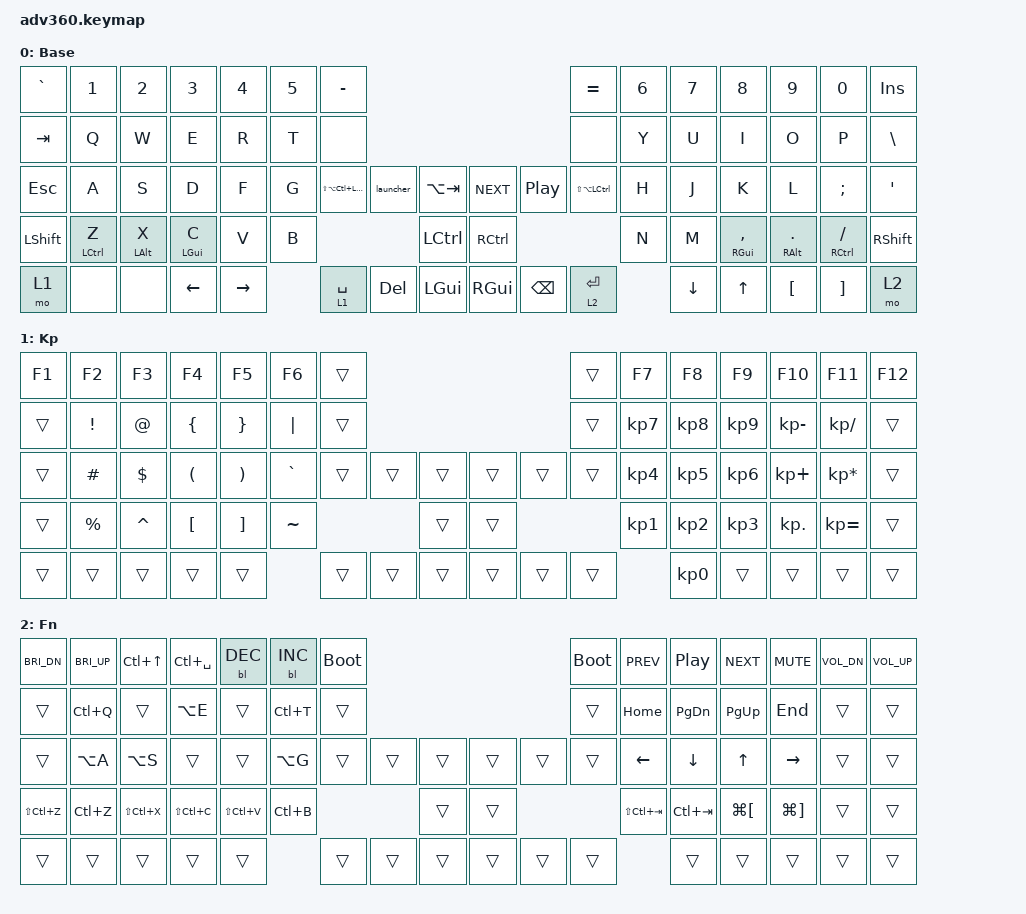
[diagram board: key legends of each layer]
#include <dt-bindings/zmk/stp.h>
#include <behaviors.dtsi>
#include <dt-bindings/zmk/backlight.h>
#include <dt-bindings/zmk/keys.h>

/ {
    behaviors {
        #include "macros.dtsi"
      #include "version.dtsi"

        hm: homerow_mods {
            compatible = "zmk,behavior-hold-tap";
            label = "HOMEROW_MODS";
            #binding-cells = <2>;
            tapping-term-ms = <200>;
            flavor = "tap-preferred";
            bindings = <&kp>, <&kp>;

            quick-tap-ms = <175>;
        };

        ls: layer_shift {
            compatible = "zmk,behavior-hold-tap";
            label = "LAYER_SHIFT";
            bindings = <&mo>, <&kp>;

            #binding-cells = <2>;
            tapping-term-ms = <200>;
            quick-tap-ms = <175>;
            flavor = "tap-preferred";
        };
    };

    macros {
        launcher: launcher {
            compatible = "zmk,behavior-macro";
            #binding-cells = <0>;
            bindings =
                <&macro_press>,
                <&kp LCTRL>,
                <&macro_tap>,
                <&kp SPACE>,
                <&macro_release>,
                <&kp LCTRL>;

            label = "LAUNCHER";
        };
    };

    keymap {
        compatible = "zmk,keymap";

        default_layer {
            display-name = "Base";
            bindings = <
&kp GRAVE  &kp N1       &kp N2      &kp N3      &kp N4     &kp N5  &kp MINUS                                                                    &kp EQUAL          &kp N6  &kp N7    &kp N8          &kp N9        &kp N0          &kp INS
&kp TAB    &kp Q        &kp W       &kp E       &kp R      &kp T   &none                                                                        &none              &kp Y   &kp U     &kp I           &kp O         &kp P           &kp BSLH
&kp ESC    &kp A        &kp S       &kp D       &kp F      &kp G   &kp LS(LA(LC(LGUI)))  &launcher  &kp LA(TAB)      &kp C_NEXT  &kp C_PP       &kp LS(LA(LCTRL))  &kp H   &kp J     &kp K           &kp L         &kp SEMI        &kp SQT
&kp LSHFT  &hm LCTRL Z  &hm LALT X  &hm LGUI C  &kp V      &kp B                                    &kp LCTRL        &kp RCTRL                                     &kp N   &kp M     &hm RGUI COMMA  &hm RALT DOT  &hm RCTRL FSLH  &kp RSHFT
&mo 1      &none        &none       &kp LEFT    &kp RIGHT          &ls 1 SPACE           &kp DEL    &kp LGUI         &kp RGUI    &kp BACKSPACE  &ls 2 ENTER                &kp DOWN  &kp UP          &kp LBKT      &kp RBKT        &mo 2
            >;
        };

        keypad {
            display-name = "Kp";
            bindings = <
&kp F1  &kp F2     &kp F3     &kp F4    &kp F5           &kp F6     &trans                                      &trans  &kp F7     &kp F8     &kp F9     &kp F10       &kp F11          &kp F12
&trans  &kp EXCL   &kp AT     &kp LBRC  &kp RIGHT_BRACE  &kp PIPE   &trans                                      &trans  &kp KP_N7  &kp KP_N8  &kp KP_N9  &kp KP_MINUS  &kp KP_SLASH     &trans
&trans  &kp HASH   &kp DLLR   &kp LPAR  &kp RPAR         &kp GRAVE  &trans  &trans  &trans      &trans  &trans  &trans  &kp KP_N4  &kp KP_N5  &kp KP_N6  &kp KP_PLUS   &kp KP_MULTIPLY  &trans
&trans  &kp PRCNT  &kp CARET  &kp LBKT  &kp RBKT         &kp TILDE                  &trans      &trans                  &kp KP_N1  &kp KP_N2  &kp KP_N3  &kp KP_DOT    &kp KP_EQUAL     &trans
&trans  &trans     &trans     &trans    &trans                      &trans  &trans  &trans      &trans  &trans  &trans             &kp KP_N0  &trans     &trans        &trans           &trans
            >;
        };

        fn {
            display-name = "Fn";
            bindings = <
&kp C_BRI_DN   &kp C_BRI_UP  &kp LC(UP)     &kp LC(SPACE)  &bl BL_DEC     &bl BL_INC  &bootloader                                      &bootloader  &kp C_PREV       &kp C_PP        &kp C_NEXT    &kp C_MUTE       &kp C_VOL_DN  &kp C_VOL_UP
&trans         &kp LC(Q)     &trans         &kp LA(E)      &trans         &kp LC(T)   &trans                                           &trans       &kp HOME         &kp PG_DN       &kp PG_UP     &kp END          &trans        &trans
&trans         &kp LA(A)     &kp LA(S)      &trans         &trans         &kp LA(G)   &trans       &trans  &trans      &trans  &trans  &trans       &kp LEFT_ARROW   &kp DOWN_ARROW  &kp UP_ARROW  &kp RIGHT_ARROW  &trans        &trans
&kp LS(LC(Z))  &kp LC(Z)     &kp LS(LC(X))  &kp LS(LC(C))  &kp LS(LC(V))  &kp LC(B)                        &trans      &trans                       &kp LS(LC(TAB))  &kp LC(TAB)     &kp LG(LBKT)  &kp LG(RBKT)     &trans        &trans
&trans         &trans        &trans         &trans         &trans                     &trans       &trans  &trans      &trans  &trans  &trans                        &trans          &trans        &trans           &trans        &trans
            >;
        };
    };
};
